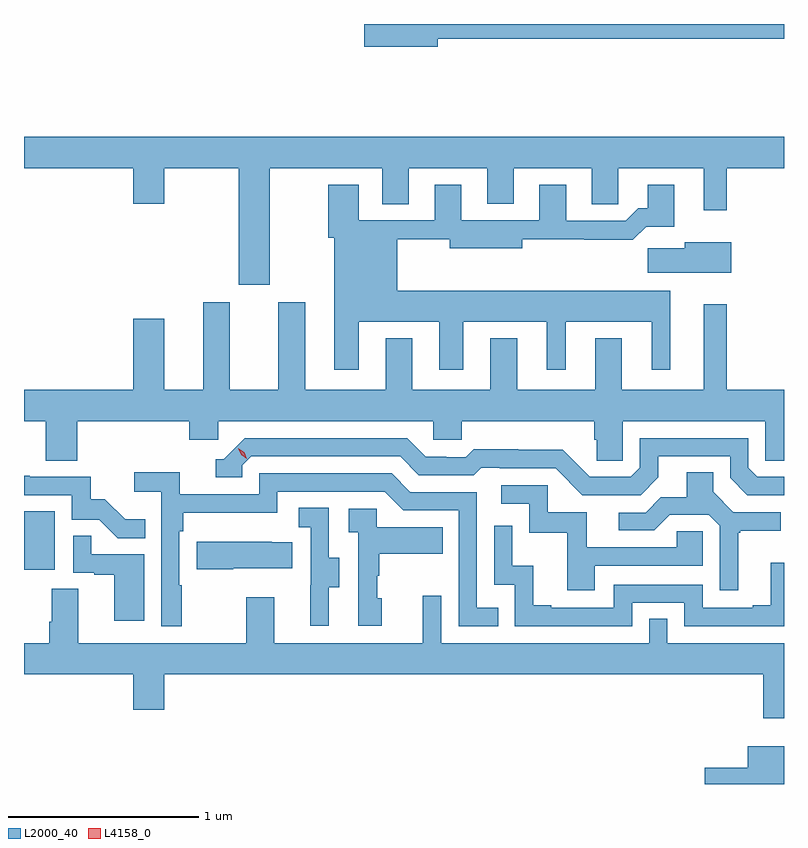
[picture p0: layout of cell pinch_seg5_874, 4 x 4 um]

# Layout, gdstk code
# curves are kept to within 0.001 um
import gdstk
lib = gdstk.Library(unit=1e-6, precision=1e-09)
def R(c, l, rs):  # rectangles x0, y0, x1, y1
    for r in rs: c.add(gdstk.rectangle(r[:2], r[2:], *l))
def P(c, l, *ps):  # polygons
    for p in ps: c.add(gdstk.Polygon(p, *l))
L2000_40 = (2000, 40)
L4158_0 = (4158, 0)

pinch_seg5_874 = lib.new_cell('pinch_seg5_874')
R(pinch_seg5_874, L2000_40, [(859.738,886.614,859.9,886.921)])
P(pinch_seg5_874, L2000_40, [(861.916,889.408),(863.738,889.408),(863.738,889.486),(861.528,889.486),(861.528,889.366),(861.916,889.366)],
  [(861.031,888.728),(861.623,888.728),(861.623,888.538),(861.763,888.538),(861.763,888.728),(862.175,888.728),(862.175,888.539),(862.315,888.539),(862.315,888.728),(862.727,888.728),(862.727,888.538),(862.866,888.538),(862.866,888.728),(863.315,888.728),(863.315,888.507),(863.437,888.507),(863.437,888.728),(863.738,888.728),(863.738,888.892),(859.738,888.892),(859.738,888.728),(860.312,888.728),(860.312,888.54),(860.476,888.54),(860.476,888.728),(860.867,888.728),(860.867,888.114),(861.031,888.114)],
  [(861.499,887.918),(861.923,887.918),(861.923,887.667),(862.051,887.667),(862.051,887.918),(862.49,887.918),(862.49,887.667),(862.588,887.667),(862.588,887.918),(863.042,887.918),(863.042,887.667),(863.14,887.667),(863.14,888.082),(861.703,888.082),(861.703,888.352),(861.98,888.352),(861.98,888.305),(862.36,888.305),(862.36,888.352),(862.687,888.352),(862.687,888.35),(862.943,888.35),(863.012,888.419),(863.161,888.419),(863.161,888.64),(863.021,888.64),(863.021,888.517),(862.972,888.517),(862.905,888.45),(862.591,888.45),(862.591,888.64),(862.451,888.64),(862.451,888.453),(862.039,888.454),(862.039,888.64),(861.899,888.64),(861.899,888.453),(861.499,888.453),(861.499,888.64),(861.34,888.64),(861.34,888.36),(861.371,888.36),(861.371,887.667),(861.499,887.667)],
  [(863.461,888.337),(863.216,888.337),(863.216,888.305),(863.022,888.305),(863.022,888.176),(863.461,888.176)],
  [(860.681,887.56),(860.476,887.56),(860.476,887.935),(860.312,887.935),(860.312,887.56),(859.738,887.56),(859.738,887.396),(859.853,887.396),(859.853,887.188),(860.018,887.188),(860.018,887.396),(860.609,887.396),(860.609,887.298),(860.76,887.298),(860.76,887.396),(861.891,887.396),(861.891,887.298),(862.041,887.298),(862.041,887.396),(862.739,887.396),(862.739,887.298),(862.753,887.298),(862.753,887.188),(862.89,887.188),(862.89,887.396),(863.64,887.396),(863.64,887.188),(863.738,887.188),(863.738,887.56),(863.437,887.56),(863.437,888.01),(863.315,888.01),(863.315,887.56),(862.885,887.56),(862.885,887.833),(862.745,887.833),(862.745,887.56),(862.333,887.56),(862.333,887.833),(862.193,887.833),(862.193,887.56),(861.781,887.56),(861.781,887.833),(861.641,887.833),(861.641,887.56),(861.217,887.56),(861.217,888.022),(861.077,888.022),(861.077,887.56),(860.821,887.56),(860.821,888.022),(860.681,888.022)],
  [(863.077,887.101),(863.077,887.211),(863.454,887.211),(863.454,887.097),(863.544,887.007),(863.738,887.007),(863.738,887.103),(863.598,887.103),(863.55,887.151),(863.55,887.307),(862.98,887.307),(862.98,887.151),(862.932,887.103),(862.716,887.103),(862.574,887.245),(862.338,887.245),(862.338,887.248),(862.105,887.248),(862.063,887.205),(861.96,887.205),(861.96,887.208),(861.853,887.208),(861.754,887.307),(860.901,887.307),(860.79,887.196),(860.747,887.196),(860.747,887.1),(860.886,887.1),(860.886,887.163),(860.934,887.211),(861.717,887.211),(861.816,887.112),(862.105,887.112),(862.144,887.151),(862.243,887.151),(862.243,887.148),(862.536,887.148),(862.677,887.007),(862.983,887.007)],
  [(860.569,886.532),(860.556,886.532),(860.556,886.817),(860.576,886.817),(860.576,886.913),(861.072,886.913),(861.072,887.025),(861.636,887.025),(861.735,886.926),(862.026,886.926),(862.026,886.317),(862.235,886.317),(862.235,886.413),(862.122,886.413),(862.122,887.022),(861.772,887.022),(861.673,887.121),(860.976,887.121),(860.976,887.01),(860.558,887.01),(860.558,887.126),(860.319,887.126),(860.319,887.024),(860.46,887.024),(860.46,886.317),(860.569,886.317)],
  [(863.497,886.809),(863.509,886.809),(863.509,886.82),(863.722,886.82),(863.722,886.917),(863.472,886.917),(863.365,887.024),(863.365,887.126),(863.225,887.126),(863.225,886.994),(863.09,886.994),(863.01,886.914),(862.869,886.914),(862.869,886.821),(863.056,886.821),(863.137,886.902),(863.343,886.902),(863.4,886.845),(863.4,886.506),(863.497,886.506)],
  [(860.375,886.879),(860.271,886.879),(860.164,886.986),(860.088,886.986),(860.088,887.103),(859.769,887.103),(859.769,887.108),(859.738,887.108),(859.738,887.007),(859.989,887.007),(859.989,886.878),(860.133,886.878),(860.231,886.78),(860.375,886.78)],
  [(862.741,886.635),(863.31,886.635),(863.31,886.815),(863.173,886.815),(863.173,886.731),(862.699,886.731),(862.699,886.917),(862.494,886.917),(862.494,887.058),(862.251,887.058),(862.251,886.962),(862.398,886.962),(862.398,886.809),(862.597,886.809),(862.597,886.506),(862.741,886.506)],
  [(861.343,886.522),(861.397,886.522),(861.397,886.677),(861.342,886.677),(861.342,886.94),(861.183,886.94),(861.183,886.837),(861.246,886.837),(861.246,886.533),(861.245,886.533),(861.245,886.32),(861.343,886.32)],
  [(861.622,886.464),(861.597,886.464),(861.597,886.583),(861.607,886.583),(861.607,886.697),(861.941,886.697),(861.941,886.837),(861.594,886.837),(861.594,886.935),(861.447,886.935),(861.447,886.811),(861.498,886.811),(861.498,886.32),(861.622,886.32)],
  [(862.938,886.44),(863.214,886.44),(863.214,886.317),(863.738,886.317),(863.738,886.651),(863.669,886.651),(863.669,886.426),(863.573,886.426),(863.573,886.413),(863.31,886.413),(863.31,886.536),(862.842,886.536),(862.842,886.413),(862.513,886.413),(862.513,886.426),(862.418,886.426),(862.418,886.634),(862.308,886.634),(862.308,886.846),(862.212,886.846),(862.212,886.536),(862.32,886.536),(862.32,886.317),(862.938,886.317)],
  [(860.371,886.695),(860.093,886.695),(860.093,886.793),(859.998,886.793),(859.998,886.599),(860.109,886.599),(860.109,886.587),(860.213,886.587),(860.213,886.344),(860.371,886.344)],
  [(860.839,886.622),(861.149,886.622),(861.149,886.759),(861.041,886.759),(861.041,886.762),(860.648,886.762),(860.648,886.615),(860.839,886.615)],
  [(860.908,886.468),(860.908,886.228),(860.023,886.228),(860.023,886.514),(859.883,886.514),(859.883,886.34),(859.871,886.34),(859.871,886.228),(859.738,886.228),(859.738,886.064),(860.312,886.064),(860.312,885.876),(860.476,885.876),(860.476,886.064),(863.629,886.064),(863.629,885.831),(863.738,885.831),(863.738,886.228),(863.124,886.228),(863.124,886.355),(863.028,886.355),(863.028,886.228),(861.933,886.228),(861.933,886.477),(861.836,886.477),(861.836,886.228),(861.055,886.228),(861.055,886.468)],
  [(863.738,885.685),(863.546,885.685),(863.546,885.572),(863.322,885.572),(863.322,885.486),(863.738,885.486)])
P(pinch_seg5_874, L4158_0, [(860.911,887.198),(860.881,887.218),(860.865,887.251),(860.865,887.252),(860.865,887.252),(860.896,887.231),(860.911,887.198),(860.911,887.198)])

lib.write_gds('pinch_seg5_874.gds')
